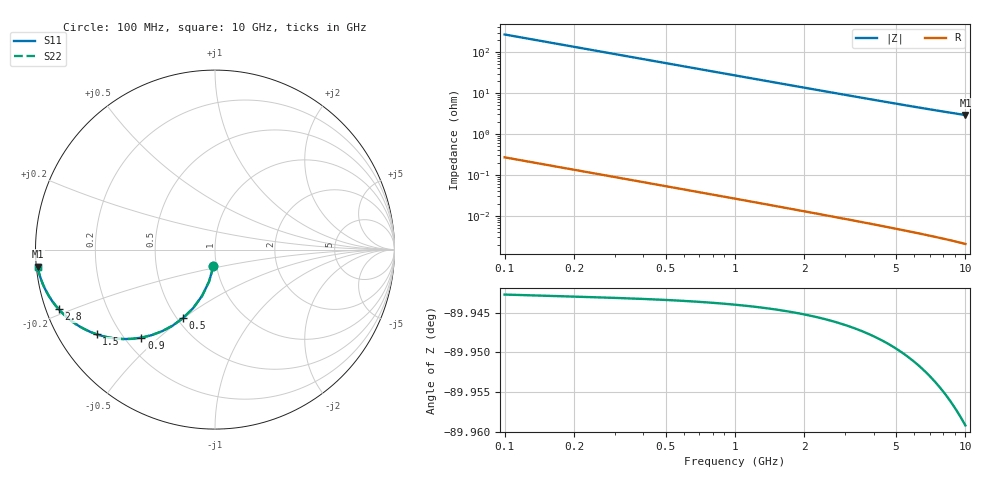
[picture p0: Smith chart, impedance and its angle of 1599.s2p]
# Hz S RI R 50.00
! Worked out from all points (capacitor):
!   100 points, 100 MHz to 10 GHz, reference 50 ohm
!   read as one part in shunt: C = 5.9 pF near 100 MHz
!   lowest |Z| = 2.91 ohm at 10 GHz (marker M1)
!   S11 on the Smith chart (normalised r, x): 100 MHz: 0.97, -0.18; 500 MHz: 0.54, -0.50; 900 MHz: 0.27, -0.44; 1.5 GHz: 0.12, -0.32; 2.8 GHz: 0.04, -0.18; 10 GHz: 0.00, -0.05
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1e8  -0.00858 -0.0918  0.9914 -0.092  0.9914 -0.092  -0.00858 -0.0918
2e8  -0.0334 -0.179  0.9666 -0.1794  0.9666 -0.1794  -0.0334 -0.179
3e8  -0.072 -0.2577  0.928 -0.2583  0.928 -0.2583  -0.072 -0.2577
4e8  -0.1211 -0.3254  0.8789 -0.3261  0.8789 -0.3261  -0.1211 -0.3254
5e8  -0.177 -0.3807  0.8229 -0.3817  0.8229 -0.3817  -0.177 -0.3807
6e8  -0.2364 -0.4238  0.7635 -0.425  0.7635 -0.425  -0.2364 -0.4238
7e8  -0.2964 -0.4555  0.7036 -0.4568  0.7036 -0.4568  -0.2964 -0.4555
8e8  -0.3548 -0.4772  0.6451 -0.4787  0.6451 -0.4787  -0.3548 -0.4772
9e8  -0.4103 -0.4905  0.5897 -0.4923  0.5897 -0.4923  -0.4103 -0.4905
1e9  -0.462 -0.4971  0.538 -0.499  0.538 -0.499  -0.462 -0.4971
1.2e9  -0.5527 -0.4955  0.4472 -0.4979  0.4472 -0.4979  -0.5527 -0.4955
1.5e9  -0.6586 -0.4722  0.3413 -0.4751  0.3413 -0.4751  -0.6586 -0.4722
1.8e9  -0.7352 -0.4389  0.2648 -0.4425  0.2648 -0.4425  -0.7352 -0.4389
2e9  -0.7741 -0.4157  0.2259 -0.4196  0.2259 -0.4196  -0.7741 -0.4157
2.3e9  -0.8191 -0.3821  0.1808 -0.3867  0.1808 -0.3867  -0.8191 -0.3821
2.8e9  -0.8702 -0.3327  0.1297 -0.3383  0.1297 -0.3383  -0.8702 -0.3327
3.4e9  -0.9081 -0.2849  0.0918 -0.2917  0.0918 -0.2917  -0.9081 -0.2849
4.2e9  -0.9378 -0.2367  0.0621 -0.2451  0.0621 -0.2451  -0.9378 -0.2367
5.1e9  -0.957 -0.1971  0.0429 -0.2073  0.0429 -0.2073  -0.957 -0.1971
6.7e9  -0.9747 -0.1494  0.0251 -0.163  0.0251 -0.163  -0.9747 -0.1494
8.4e9  -0.9839 -0.1164  0.0159 -0.1337  0.0159 -0.1337  -0.9839 -0.1164
1e10  -0.9886 -0.0943  0.0111 -0.1151  0.0111 -0.1151  -0.9886 -0.0943
